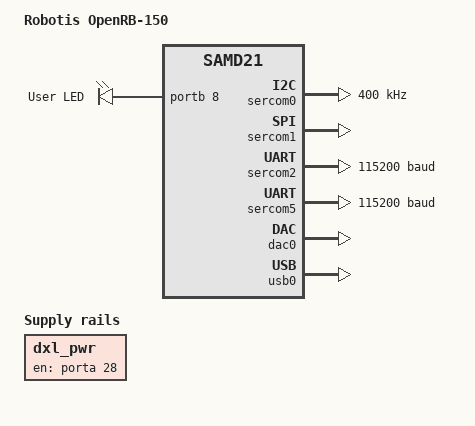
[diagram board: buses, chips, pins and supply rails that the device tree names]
/*
 * Copyright (c) 2024 Richard Osterloh <richard.osterloh@gmail.com>
 *
 * SPDX-License-Identifier: Apache-2.0
 */

/dts-v1/;
#include <atmel/samd21.dtsi>
#include <atmel/samx2xx18.dtsi>
#include "robotis_openrb_150-pinctrl.dtsi"
#include "arduino_mkr_connector.dtsi"

/ {
	compatible = "robotis,openrb-150", "atmel,samd21g18a", "atmel,samd21";
	model = "Robotis OpenRB-150";

	chosen {
		zephyr,console = &sercom5;
		zephyr,shell-uart = &sercom5;
		zephyr,sram = &sram0;
		zephyr,flash = &flash0;
		zephyr,code-partition = &code_partition;
	};

	leds {
		compatible = "gpio-leds";

		led0: led_0 {
			gpios = <&portb 8 0>;
			label = "User LED";
		};
	};

	/* Not enabled: a pwm-leds node on &tcc3 channel 6, PWM_MSEC(20) (see &tcc3 below). */

	dxl_pwr: dxl-pwr {
		compatible = "regulator-fixed";
		regulator-name = "dxl-pwr-sw";
		enable-gpios = <&porta 28 GPIO_ACTIVE_HIGH>;
		regulator-boot-on;
		status = "okay";
	};

	aliases {
		led0 = &led0;
	};
};

&cpu0 {
	clock-frequency = <48000000>;
};

&sercom0 {
	compatible = "atmel,sam0-i2c";
	clock-frequency = <I2C_BITRATE_FAST>;
	#address-cells = <1>;
	#size-cells = <0>;

	pinctrl-0 = <&sercom0_i2c_default>;
	pinctrl-names = "default";
	status = "okay";
};

&sercom1 {
	compatible = "atmel,sam0-spi";
	dipo = <3>;
	dopo = <0>;
	#address-cells = <1>;
	#size-cells = <0>;

	pinctrl-0 = <&sercom1_spi_default>;
	pinctrl-names = "default";
	status = "okay";
};

&sercom2 {
	compatible = "atmel,sam0-uart";
	current-speed = <115200>;
	rxpo = <1>;
	txpo = <0>;

	pinctrl-0 = <&sercom2_uart_default>;
	pinctrl-names = "default";
	status = "okay";
};

&sercom4 {
	compatible = "atmel,sam0-uart";
	current-speed = <115200>;
	rxpo = <3>;
	txpo = <2>;

	pinctrl-0 = <&sercom4_uart_default>;
	pinctrl-names = "default";
	status = "disabled";
};

&sercom5 {
	compatible = "atmel,sam0-uart";
	current-speed = <115200>;
	rxpo = <3>;
	txpo = <2>;

	pinctrl-0 = <&sercom5_uart_default>;
	pinctrl-names = "default";
	status = "okay";
};

/* Not enabled: &tcc3 as atmel,sam0-tcc-pwm with prescaler = <1024> (max period
 * 1.4 s), #pwm-cells = <2> and pinctrl &pwm_default.
 */

&dac0 {

	pinctrl-0 = <&dac_default>;
	pinctrl-names = "default";
	status = "okay";
};

&flash0 {
	partitions {
		compatible = "fixed-partitions";
		#address-cells = <1>;
		#size-cells = <1>;

		boot_partition: partition@0 {
			reg = <0x00000000 DT_SIZE_K(8)>;
			label = "sam-ba"; // "bootloader" "uf2" "sam-ba"
			read-only;
		};

		code_partition: partition@2000 {
			reg = <0x2000 DT_SIZE_K(256-8-16)>;
			label = "code";
			read-only;
		};

		/*
		 * The final 16 KiB is reserved for the application.
		 * Storage partition will be used by FCB/LittleFS/NVS
		 * if enabled.
		 */
		storage_partition: partition@3c000 {
			reg = <0x0003c000 DT_SIZE_K(16)>;
			label = "storage";
		};
	};
};

zephyr_udc0: &usb0 {

	pinctrl-0 = <&usb_dc_default>;
	pinctrl-names = "default";
	status = "okay";
};

/* Zephyr-shield convention: shields hook &zephyr_i2c. Alias the Arduino
 * MKR I2C bus so out-of-tree shields apply on OpenRB.
 */
zephyr_i2c: &arduino_mkr_i2c {};
